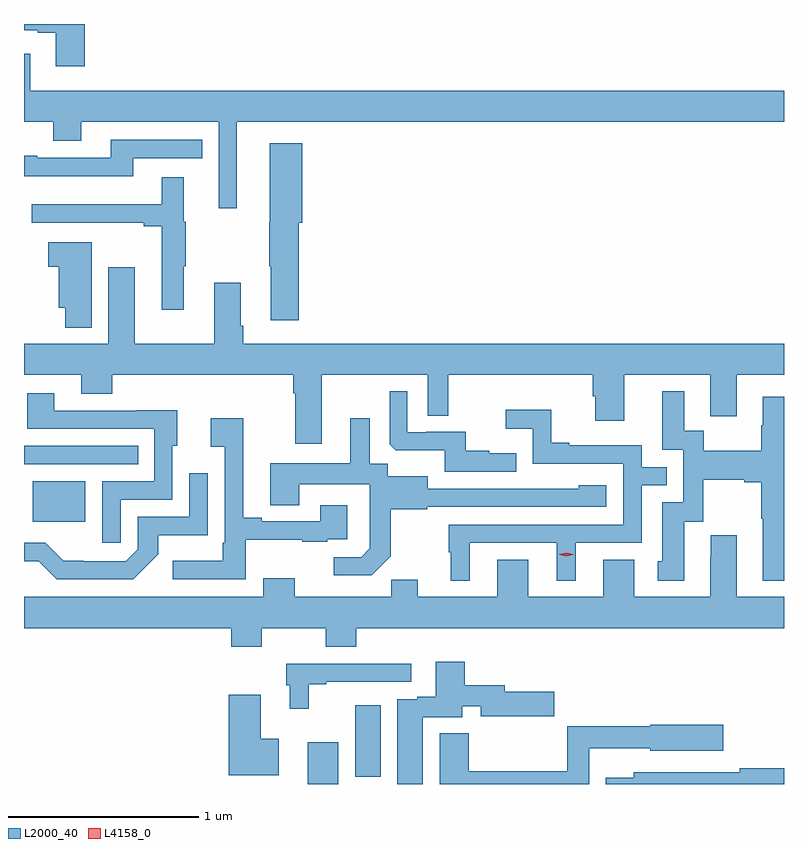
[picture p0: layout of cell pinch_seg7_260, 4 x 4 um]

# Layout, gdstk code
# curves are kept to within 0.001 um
import gdstk
lib = gdstk.Library(unit=1e-6, precision=1e-09)
def R(c, l, rs):  # rectangles x0, y0, x1, y1
    for r in rs: c.add(gdstk.rectangle(r[:2], r[2:], *l))
def P(c, l, *ps):  # polygons
    for p in ps: c.add(gdstk.Polygon(p, *l))
L2000_40 = (2000, 40)
L4158_0 = (4158, 0)

pinch_seg7_260 = lib.new_cell('pinch_seg7_260')
R(pinch_seg7_260, L2000_40, [(758.951,1065.063,759.112,1065.283), (759.2,1065.102,759.334,1065.478), (757.502,1066.442,757.78,1066.657), (757.457,1066.746,758.057,1066.842)])
P(pinch_seg7_260, L2000_40, [(757.778,1069.063),(757.457,1069.063),(757.457,1069.029),(757.529,1069.029),(757.529,1069.017),(757.625,1069.017),(757.625,1068.84),(757.778,1068.84)],
  [(758.578,1068.548),(761.457,1068.548),(761.457,1068.712),(757.489,1068.712),(757.489,1068.907),(757.457,1068.907),(757.457,1068.548),(757.612,1068.548),(757.612,1068.449),(757.759,1068.449),(757.759,1068.548),(758.481,1068.548),(758.481,1068.093),(758.578,1068.093)],
  [(758.032,1068.357),(758.396,1068.357),(758.396,1068.453),(757.913,1068.453),(757.913,1068.36),(757.527,1068.36),(757.527,1068.37),(757.457,1068.37),(757.457,1068.263),(758.032,1068.263)],
  [(758.903,1068.018),(758.921,1068.018),(758.921,1068.436),(758.75,1068.436),(758.75,1068.018),(758.749,1068.018),(758.749,1067.788),(758.756,1067.788),(758.756,1067.505),(758.903,1067.505)],
  [(758.299,1067.788),(758.307,1067.788),(758.307,1068.021),(758.299,1068.021),(758.299,1068.256),(758.183,1068.256),(758.183,1068.115),(757.497,1068.115),(757.497,1068.018),(757.909,1068.018),(757.909,1068.016),(758.087,1068.016),(758.087,1067.998),(758.183,1067.998),(758.183,1067.559),(758.299,1067.559)],
  [(757.813,1067.914),(757.584,1067.914),(757.584,1067.785),(757.64,1067.785),(757.64,1067.57),(757.673,1067.57),(757.673,1067.465),(757.813,1067.465)],
  [(759.025,1067.216),(759.582,1067.216),(759.582,1067.002),(759.691,1067.002),(759.691,1067.216),(760.451,1067.216),(760.451,1067.103),(760.463,1067.103),(760.463,1066.974),(760.615,1066.974),(760.615,1067.216),(761.069,1067.216),(761.069,1066.998),(761.209,1066.998),(761.209,1067.216),(761.457,1067.216),(761.457,1067.38),(758.612,1067.38),(758.612,1067.476),(758.599,1067.476),(758.599,1067.701),(758.459,1067.701),(758.459,1067.38),(758.041,1067.38),(758.041,1067.782),(757.901,1067.782),(757.901,1067.38),(757.457,1067.38),(757.457,1067.216),(757.757,1067.216),(757.757,1067.117),(757.921,1067.117),(757.921,1067.216),(758.873,1067.216),(758.873,1067.12),(758.885,1067.12),(758.885,1066.854),(759.025,1066.854)],
  [(761.457,1067.101),(761.345,1067.101),(761.345,1066.95),(761.338,1066.95),(761.338,1066.816),(761.035,1066.816),(761.035,1066.922),(760.933,1066.922),(760.933,1067.131),(760.817,1067.131),(760.817,1066.821),(760.926,1066.821),(760.926,1066.545),(760.817,1066.545),(760.817,1066.236),(760.793,1066.236),(760.793,1066.134),(760.933,1066.134),(760.933,1066.442),(761.031,1066.442),(761.031,1066.664),(761.249,1066.664),(761.249,1066.652),(761.338,1066.652),(761.338,1066.459),(761.345,1066.459),(761.345,1066.133),(761.457,1066.133)],
  [(760.049,1066.804),(759.905,1066.804),(759.905,1066.816),(759.782,1066.816),(759.782,1066.917),(759.574,1066.917),(759.574,1066.914),(759.474,1066.914),(759.474,1067.131),(759.381,1067.131),(759.381,1066.851),(759.413,1066.82),(759.672,1066.82),(759.672,1066.707),(760.049,1066.707)],
  [(757.965,1066.56),(758.238,1066.56),(758.238,1066.842),(758.263,1066.842),(758.263,1067.03),(758.045,1067.03),(758.045,1067.028),(757.615,1067.028),(757.615,1067.119),(757.475,1067.119),(757.475,1066.932),(758.142,1066.932),(758.142,1066.656),(757.869,1066.656),(757.869,1066.332),(757.965,1066.332)],
  [(759.802,1066.332),(760.262,1066.332),(760.262,1066.133),(760.36,1066.133),(760.36,1066.332),(760.707,1066.332),(760.707,1066.635),(760.841,1066.635),(760.841,1066.731),(760.707,1066.731),(760.707,1066.845),(760.327,1066.845),(760.327,1066.858),(760.233,1066.858),(760.233,1067.033),(759.993,1067.033),(759.993,1066.934),(760.134,1066.934),(760.134,1066.749),(760.611,1066.749),(760.611,1066.428),(759.693,1066.428),(759.693,1066.284),(759.704,1066.284),(759.704,1066.133),(759.802,1066.133)],
  [(758.623,1066.349),(758.921,1066.349),(758.921,1066.338),(759.053,1066.338),(759.053,1066.35),(759.157,1066.35),(759.157,1066.531),(759.017,1066.531),(759.017,1066.446),(758.707,1066.446),(758.707,1066.465),(758.611,1066.465),(758.611,1066.987),(758.439,1066.987),(758.439,1066.838),(758.514,1066.838),(758.514,1066.333),(758.502,1066.333),(758.502,1066.237),(758.241,1066.237),(758.241,1066.14),(758.623,1066.14)],
  [(759.387,1066.263),(759.387,1066.509),(759.579,1066.509),(759.579,1066.521),(760.522,1066.521),(760.522,1066.636),(760.377,1066.636),(760.377,1066.618),(759.583,1066.617),(759.583,1066.684),(759.372,1066.684),(759.372,1066.748),(759.277,1066.748),(759.277,1066.987),(759.173,1066.987),(759.173,1066.75),(758.753,1066.75),(758.753,1066.531),(758.905,1066.531),(758.905,1066.64),(759.276,1066.64),(759.276,1066.399),(759.278,1066.399),(759.278,1066.304),(759.231,1066.257),(759.087,1066.257),(759.087,1066.163),(759.287,1066.163)],
  [(758.163,1066.271),(758.163,1066.373),(758.424,1066.373),(758.424,1066.699),(758.328,1066.699),(758.328,1066.47),(758.055,1066.47),(758.055,1066.299),(757.992,1066.236),(757.768,1066.236),(757.768,1066.238),(757.664,1066.238),(757.569,1066.332),(757.457,1066.332),(757.457,1066.235),(757.535,1066.235),(757.629,1066.14),(758.032,1066.14)],
  [(758.709,1065.884),(759.046,1065.884),(759.046,1065.785),(759.206,1065.785),(759.206,1065.884),(761.457,1065.884),(761.457,1066.048),(761.209,1066.048),(761.209,1066.372),(761.072,1066.372),(761.072,1066.259),(761.069,1066.259),(761.069,1066.048),(760.669,1066.048),(760.669,1066.243),(760.505,1066.243),(760.505,1066.048),(760.111,1066.048),(760.111,1066.243),(759.947,1066.243),(759.947,1066.048),(759.529,1066.048),(759.529,1066.139),(759.391,1066.139),(759.391,1066.048),(758.881,1066.048),(758.881,1066.147),(758.717,1066.147),(758.717,1066.048),(757.457,1066.048),(757.457,1065.884),(758.549,1065.884),(758.549,1065.785),(758.709,1065.785)],
  [(759.556,1065.414),(759.763,1065.414),(759.763,1065.473),(759.86,1065.473),(759.86,1065.419),(760.249,1065.419),(760.249,1065.549),(759.988,1065.549),(759.988,1065.583),(759.776,1065.583),(759.776,1065.706),(759.623,1065.706),(759.623,1065.523),(759.527,1065.523),(759.527,1065.51),(759.422,1065.51),(759.422,1065.063),(759.556,1065.063)],
  [(758.955,1065.588),(759.049,1065.588),(759.049,1065.6),(759.496,1065.6),(759.496,1065.696),(758.836,1065.696),(758.836,1065.582),(758.855,1065.582),(758.855,1065.459),(758.955,1065.459)],
  [(758.797,1065.301),(758.704,1065.301),(758.704,1065.532),(758.534,1065.532),(758.534,1065.11),(758.797,1065.11)],
  [(760.431,1065.252),(760.752,1065.252),(760.752,1065.239),(761.137,1065.239),(761.137,1065.374),(760.752,1065.374),(760.752,1065.368),(760.315,1065.368),(760.315,1065.131),(759.797,1065.131),(759.797,1065.329),(759.644,1065.329),(759.644,1065.063),(760.431,1065.063)],
  [(761.457,1065.146),(761.224,1065.146),(761.224,1065.126),(760.667,1065.126),(760.667,1065.097),(760.518,1065.097),(760.518,1065.063),(761.457,1065.063)])
P(pinch_seg7_260, L4158_0, [(760.311,1066.261),(760.276,1066.27),(760.275,1066.271),(760.276,1066.271),(760.311,1066.281),(760.347,1066.271),(760.347,1066.271),(760.347,1066.27)])

lib.write_gds('pinch_seg7_260.gds')
